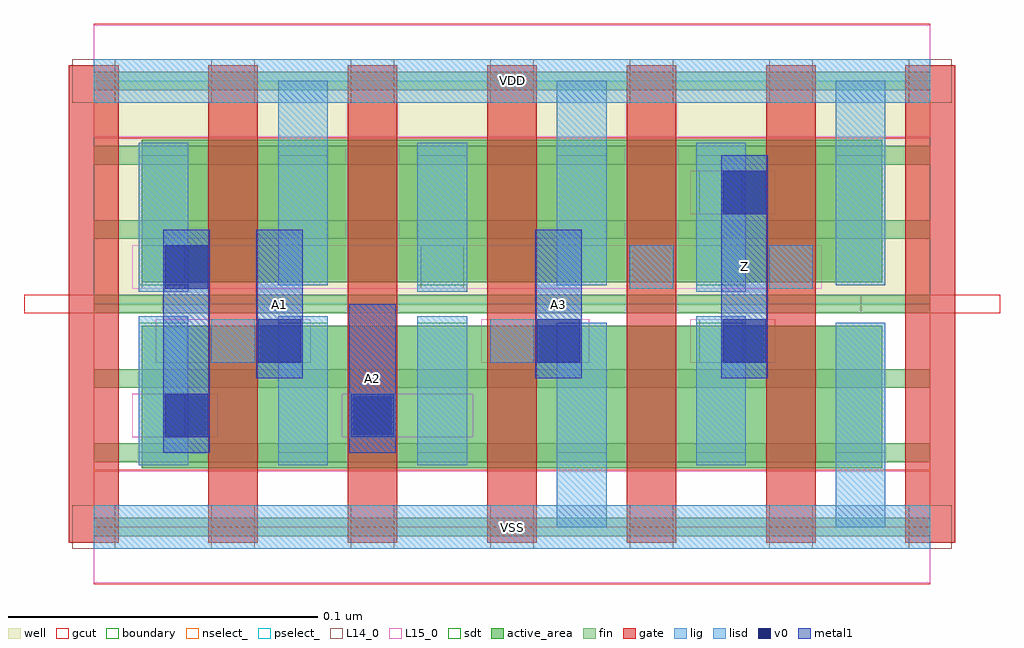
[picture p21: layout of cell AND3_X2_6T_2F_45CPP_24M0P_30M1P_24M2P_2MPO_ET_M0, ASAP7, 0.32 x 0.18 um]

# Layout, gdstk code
import gdstk
lib = gdstk.Library(unit=1e-6, precision=2.5e-10)
def R(c, l, rs):  # rectangles x0, y0, x1, y1
    for r in rs: c.add(gdstk.rectangle(r[:2], r[2:], *l))
def A(c, l, x, y, w, h, nx, ny, dx, dy):  # array of equal rectangles
    R(c, l, [(x+i*dx, y+j*dy, x+i*dx+w, y+j*dy+h) for i in range(nx) for j in range(ny)])
well = (1, 0)
fin = (2, 0)
gate = (7, 0)
gcut = (10, 0)
active_area = (11, 0)
nselect_ = (12, 0)
pselect_ = (13, 0)
L14_0 = (14, 0)
L15_0 = (15, 0)
lig = (16, 0)
lisd = (17, 0)
v0 = (18, 0)
metal1 = (19, 0)
sdt = (88, 0)
boundary = (100, 0)

and3_x2_6t_2f_45cpp_24m0 = lib.new_cell('AND3_X2_6T_2F_45CPP_24M0P_30M1P_24M2P_2MPO_ET_M0')
R(and3_x2_6t_2f_45cpp_24m0, well, [(0,0.072,0.27,0.144)])
A(and3_x2_6t_2f_45cpp_24m0, fin, 0, -0.003, 0.27, 0.006, 1, 7, 0, 0.024)
A(and3_x2_6t_2f_45cpp_24m0, gate, -0.008, -0.005, 0.016, 0.154, 7, 1, 0.045, 0)
R(and3_x2_6t_2f_45cpp_24m0, gcut, [(0,-0.0185,0.27,0.0185), (-0.0225,0.069,0.0225,0.075), (0.2475,0.069,0.2925,0.075), (0,0.1255,0.27,0.1625)])
A(and3_x2_6t_2f_45cpp_24m0, active_area, 0.0155, 0.019, 0.059, 0.046, 3, 2, 0.045, 0.06)
R(and3_x2_6t_2f_45cpp_24m0, active_area, [(0.1505,0.019,0.2545,0.065), (0.1505,0.079,0.2545,0.125)])
R(and3_x2_6t_2f_45cpp_24m0, nselect_, [(0,0,0.27,0.072)])
R(and3_x2_6t_2f_45cpp_24m0, pselect_, [(0,0.072,0.27,0.144)])
A(and3_x2_6t_2f_45cpp_24m0, L14_0, -0.007, -0.007, 0.014, 0.014, 7, 2, 0.045, 0.144)
R(and3_x2_6t_2f_45cpp_24m0, L14_0, [(0.0155,0.029,0.0295,0.043), (0.083,0.029,0.097,0.043), (0.038,0.053,0.052,0.067), (0.128,0.053,0.142,0.067), (0.1955,0.053,0.2095,0.067), (0.0155,0.077,0.0295,0.091), (0.1055,0.077,0.1195,0.091), (0.173,0.077,0.187,0.091), (0.218,0.077,0.232,0.091), (0.1955,0.101,0.2095,0.115)])
R(and3_x2_6t_2f_45cpp_24m0, L15_0, [(0,-0.018,0.27,0.018), (0.0125,0.029,0.04,0.043), (0.08,0.029,0.1225,0.043), (0.02,0.053,0.07,0.067), (0.125,0.053,0.16,0.067), (0.1925,0.053,0.22,0.067), (0.0125,0.077,0.235,0.091), (0.1925,0.101,0.22,0.115), (0,0.126,0.27,0.162)])
R(and3_x2_6t_2f_45cpp_24m0, lig, [(0,-0.007,0.27,0.007), (0.083,0.029,0.097,0.043), (0.038,0.053,0.052,0.067), (0.128,0.053,0.142,0.067), (0.173,0.077,0.187,0.091), (0.218,0.077,0.232,0.091), (0,0.137,0.27,0.151)])
A(and3_x2_6t_2f_45cpp_24m0, lisd, 0.0145, 0.02, 0.016, 0.048, 3, 1, 0.045, 0)
A(and3_x2_6t_2f_45cpp_24m0, lisd, 0.0145, 0.076, 0.016, 0.048, 3, 1, 0.09, 0)
A(and3_x2_6t_2f_45cpp_24m0, lisd, 0.0595, 0.078, 0.016, 0.066, 3, 1, 0.09, 0)
R(and3_x2_6t_2f_45cpp_24m0, lisd, [(0.1495,0,0.1655,0.066), (0.2395,0,0.2555,0.066), (0.1945,0.02,0.2105,0.068)])
R(and3_x2_6t_2f_45cpp_24m0, v0, [(0.023,0.029,0.037,0.043), (0.083,0.029,0.097,0.043), (0.053,0.053,0.067,0.067), (0.143,0.053,0.157,0.067), (0.203,0.053,0.217,0.067), (0.023,0.077,0.037,0.091), (0.203,0.101,0.217,0.115)])
R(and3_x2_6t_2f_45cpp_24m0, metal1, [(0.0225,0.024,0.0375,0.096), (0.0825,0.024,0.0975,0.072), (0.0525,0.048,0.0675,0.096), (0.1425,0.048,0.1575,0.096), (0.2025,0.048,0.2175,0.12)])
A(and3_x2_6t_2f_45cpp_24m0, sdt, 0.0145, 0.024, 0.016, 0.042, 6, 2, 0.045, 0.054)
R(and3_x2_6t_2f_45cpp_24m0, boundary, [(0,0,0.27,0.144)])
and3_x2_6t_2f_45cpp_24m0.add(gdstk.Label('Z', (0.21,0.084), layer=19, texttype=251))
and3_x2_6t_2f_45cpp_24m0.add(gdstk.Label('A3', (0.15,0.072), layer=19, texttype=251))
and3_x2_6t_2f_45cpp_24m0.add(gdstk.Label('A1', (0.06,0.072), layer=19, texttype=251))
and3_x2_6t_2f_45cpp_24m0.add(gdstk.Label('A2', (0.09,0.048), layer=19, texttype=251))
and3_x2_6t_2f_45cpp_24m0.add(gdstk.Label('VDD', (0.135,0.144), layer=15, texttype=251))
and3_x2_6t_2f_45cpp_24m0.add(gdstk.Label('VSS', (0.135,0), layer=15, texttype=251))
and3_x2_6t_2f_45cpp_24m0.add(gdstk.Label('VDD', (0.135,0.144), layer=1, texttype=251))
and3_x2_6t_2f_45cpp_24m0.add(gdstk.Label('VSS', (0.135,0), layer=3, texttype=251))

lib.write_gds('AND3_X2_6T_2F_45CPP_24M0P_30M1P_24M2P_2MPO_ET_M0.gds')
